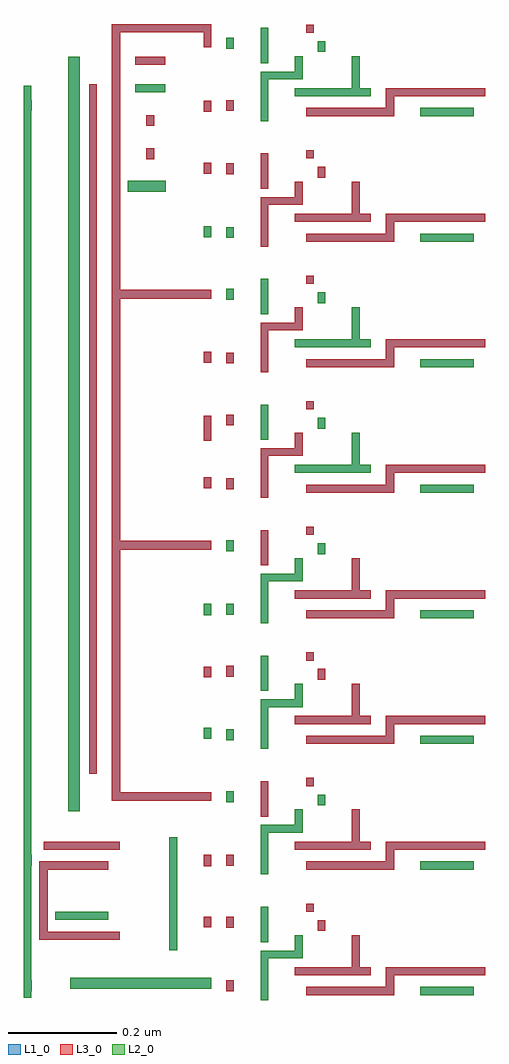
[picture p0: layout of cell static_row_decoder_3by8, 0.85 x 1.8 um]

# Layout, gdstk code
import gdstk
lib = gdstk.Library(unit=1e-6, precision=5e-10)
def R(c, l, rs):  # rectangles x0, y0, x1, y1
    for r in rs: c.add(gdstk.rectangle(r[:2], r[2:], *l))
def A(c, l, x, y, w, h, nx, ny, dx, dy):  # array of equal rectangles
    R(c, l, [(x+i*dx, y+j*dy, x+i*dx+w, y+j*dy+h) for i in range(nx) for j in range(ny)])
def P(c, l, *ps):  # polygons
    for p in ps: c.add(gdstk.Polygon(p, *l))
L1_0 = (1, 0)
L2_0 = (2, 0)
L3_0 = (3, 0)

proto_hold_nor_1r = lib.new_cell('PROTO_HOLD_nor_1R')
R(proto_hold_nor_1r, L1_0, [(0.2055,-0.113,0.2195,-0.098), (0.2475,-0.087,0.2615,-0.072), (0.2265,-0.055,0.2405,-0.04)])
R(proto_hold_nor_1r, L3_0, [(0.2265,-0.055,0.2405,-0.04)])

nand = lib.new_cell('nand')
R(nand, L1_0, [(0.258,0.1025,0.272,0.1675), (0.153,0.1235,0.167,0.1385), (0.195,0.1235,0.209,0.1385)])

inv = lib.new_cell('inv')
R(inv, L1_0, [(0.0695,0.039,0.0835,0.054), (0.0485,0.0985,0.1045,0.1135)])

invx4 = lib.new_cell('invx4')
R(invx4, L1_0, [(0.0755,0.0545,0.1735,0.0695), (0.0545,0.091,0.1945,0.106)])

buffer_highdrive = lib.new_cell('buffer_highdrive')
R(buffer_highdrive, L1_0, [(0.3675,0.0575,0.3745,0.064), (0.2835,0.096,0.29,0.101)])
P(buffer_highdrive, L1_0, [(0.259,0.1055),(0.259,0.0905),(0.2315,0.0905),(0.2315,0.054),(0.168,0.054),(0.168,0.069),(0.2165,0.069),(0.2165,0.1055)])
R(buffer_highdrive, L2_0, [(0.28,0.054,0.378,0.069)])
P(buffer_highdrive, L3_0, [(0.399,0.1055),(0.399,0.0905),(0.2315,0.0905),(0.2315,0.054),(0.07,0.054),(0.07,0.069),(0.2165,0.069),(0.2165,0.1055)])
buffer_highdrive.add(gdstk.Reference(invx4, (-0.0055,-0.0005)))
buffer_highdrive.add(gdstk.Reference(invx4, (0.2045,-0.0005)))

static_row_decoder_3by8 = lib.new_cell('static_row_decoder_3by8')
A(static_row_decoder_3by8, L1_0, 0.7785, -1.3785, 0.014, 0.074, 1, 8, 0, 0.231)
A(static_row_decoder_3by8, L1_0, 0.6105, -1.297, 0.014, 0.02, 1, 8, 0, 0.231)
A(static_row_decoder_3by8, L1_0, 0.7155, -1.297, 0.014, 0.02, 1, 8, 0, 0.231)
A(static_row_decoder_3by8, L1_0, 0.5055, -0.4825, 0.014, 0.02, 1, 3, 0, 0.231)
R(static_row_decoder_3by8, L1_0, [(0.9645,-1.412,0.9765,-1.403), (0.5475,-1.408,0.5615,-1.388), (0.26,-1.4035,0.5195,-1.3835), (0.442,-1.3325,0.457,-1.1245), (0.5475,-1.291,0.5615,-1.271), (0.5055,-1.2905,0.5195,-1.2705), (0.2365,-1.2715,0.2435,-1.265), (0.963,-1.1785,0.978,-1.173), (0.5055,-1.178,0.5195,-1.158), (0.5475,-1.177,0.5615,-1.157), (0.214,-1.1445,0.225,-1.1335), (0.236,-1.142,0.2425,-1.137), (0.257,-1.0765,0.278,0.3115), (0.5475,-1.06,0.5615,-1.04), (0.2955,-1.0075,0.3095,0.261), (0.965,-0.9505,0.9845,-0.94), (0.5475,-0.946,0.5615,-0.926), (0.5055,-0.9435,0.5195,-0.9235), (0.5055,-0.8305,0.5195,-0.8105), (0.5475,-0.829,0.5615,-0.809), (0.9705,-0.7185,0.9845,-0.7095), (0.5055,-0.716,0.5195,-0.696), (0.5475,-0.715,0.5615,-0.695), (0.5475,-0.598,0.5615,-0.578), (0.9655,-0.489,0.981,-0.4785), (0.5475,-0.484,0.5615,-0.464), (0.5055,-0.395,0.5195,-0.349), (0.5475,-0.367,0.5615,-0.347), (0.9665,-0.258,0.981,-0.25), (0.5475,-0.253,0.5615,-0.233), (0.5475,-0.1355,0.5615,-0.1155), (0.969,-0.025,0.98,-0.016), (0.5475,-0.022,0.5615,-0.002), (0.366,0.063,0.436,0.083), (0.5475,0.095,0.5615,0.115), (0.5055,0.096,0.5195,0.116), (0.4005,0.1225,0.4145,0.1425), (0.4005,0.184,0.4145,0.204), (0.9655,0.206,0.9785,0.2155), (0.5055,0.2105,0.5195,0.2305), (0.5475,0.2115,0.5615,0.2315), (0.3815,0.248,0.397,0.259), (0.5475,0.326,0.5615,0.346)])
P(static_row_decoder_3by8, L1_0, [(0.688,0.3125),(0.688,0.27),(0.6245,0.27),(0.6245,0.237),(0.6105,0.237),(0.6105,0.284),(0.6735,0.284),(0.6735,0.3125)],
  [(0.688,0.0815),(0.688,0.039),(0.6245,0.039),(0.6245,0.006),(0.6105,0.006),(0.6105,0.053),(0.6735,0.053),(0.6735,0.0815)],
  [(0.688,-0.1495),(0.688,-0.192),(0.6245,-0.192),(0.6245,-0.225),(0.6105,-0.225),(0.6105,-0.178),(0.6735,-0.178),(0.6735,-0.1495)],
  [(0.688,-0.3805),(0.688,-0.423),(0.6245,-0.423),(0.6245,-0.456),(0.6105,-0.456),(0.6105,-0.409),(0.6735,-0.409),(0.6735,-0.3805)],
  [(0.688,-0.6115),(0.688,-0.654),(0.6245,-0.654),(0.6245,-0.687),(0.6105,-0.687),(0.6105,-0.64),(0.6735,-0.64),(0.6735,-0.6115)],
  [(0.688,-0.8425),(0.688,-0.885),(0.6245,-0.885),(0.6245,-0.918),(0.6105,-0.918),(0.6105,-0.871),(0.6735,-0.871),(0.6735,-0.8425)],
  [(0.688,-1.0735),(0.688,-1.116),(0.6245,-1.116),(0.6245,-1.149),(0.6105,-1.149),(0.6105,-1.102),(0.6735,-1.102),(0.6735,-1.0735)],
  [(0.688,-1.3045),(0.688,-1.347),(0.6245,-1.347),(0.6245,-1.38),(0.6105,-1.38),(0.6105,-1.333),(0.6735,-1.333),(0.6735,-1.3045)],
  [(0.247,-1.169),(0.247,-1.184),(0.2185,-1.184),(0.2185,-1.298),(0.2255,-1.298),(0.2255,-1.313),(0.2035,-1.313),(0.2035,-1.169)],
  [(0.352,0.3715),(0.352,0.371),(0.5195,0.371),(0.5195,0.3295),(0.5055,0.3295),(0.5055,0.356),(0.352,0.356),(0.352,-0.1175),(0.52,-0.1175),(0.52,-0.1335),(0.352,-0.1335),(0.352,-0.5795),(0.52,-0.5795),(0.52,-0.5955),(0.352,-0.5955),(0.352,-1.0415),(0.52,-1.0415),(0.52,-1.0575),(0.337,-1.0575),(0.337,0.3715)],
  [(0.189,0.258),(0.189,0.2315),(0.1895,0.2315),(0.1895,0.2115),(0.189,0.2115),(0.189,-1.157),(0.1895,-1.157),(0.1895,-1.177),(0.189,-1.177),(0.189,-1.388),(0.1895,-1.388),(0.1895,-1.408),(0.189,-1.408),(0.189,-1.4195),(0.175,-1.4195),(0.175,0.258)])
A(static_row_decoder_3by8, L2_0, 0.6105, -1.3175, 0.014, 0.065, 1, 3, 0, 0.462)
A(static_row_decoder_3by8, L2_0, 0.7155, -0.604, 0.014, 0.02, 1, 3, 0, 0.231)
R(static_row_decoder_3by8, L2_0, [(0.26,-1.4035,0.5195,-1.3835), (0.442,-1.3325,0.457,-1.1245), (0.2325,-1.2765,0.3305,-1.2615), (0.257,-1.0765,0.278,0.3115), (0.7155,-1.066,0.7295,-1.046), (0.5475,-1.06,0.5615,-1.04), (0.5475,-0.946,0.5615,-0.926), (0.5055,-0.9435,0.5195,-0.9235), (0.5055,-0.716,0.5195,-0.695), (0.5475,-0.715,0.5615,-0.695), (0.5475,-0.598,0.5615,-0.578), (0.6105,-0.1625,0.6245,-0.0975), (0.5475,-0.1355,0.5615,-0.1155), (0.5475,-0.022,0.5615,-0.002), (0.5055,-0.0205,0.5195,-0.0005), (0.366,0.063,0.436,0.083), (0.3795,0.246,0.4355,0.261), (0.6105,0.2995,0.6245,0.3645), (0.7155,0.32,0.7295,0.34), (0.5475,0.326,0.5615,0.346)])
P(static_row_decoder_3by8, L2_0, [(0.7925,0.3125),(0.7925,0.2535),(0.8135,0.2535),(0.8135,0.2385),(0.6735,0.2385),(0.6735,0.2535),(0.7785,0.2535),(0.7785,0.3125)],
  [(0.7925,-0.1495),(0.7925,-0.2085),(0.8135,-0.2085),(0.8135,-0.2235),(0.6735,-0.2235),(0.6735,-0.2085),(0.7785,-0.2085),(0.7785,-0.1495)],
  [(0.7925,-0.3805),(0.7925,-0.4395),(0.8135,-0.4395),(0.8135,-0.4545),(0.6735,-0.4545),(0.6735,-0.4395),(0.7785,-0.4395),(0.7785,-0.3805)],
  [(0.688,0.3125),(0.688,0.27),(0.6245,0.27),(0.6245,0.193),(0.6105,0.193),(0.6105,0.284),(0.6735,0.284),(0.6735,0.3125)],
  [(0.688,-0.6115),(0.688,-0.654),(0.6245,-0.654),(0.6245,-0.731),(0.6105,-0.731),(0.6105,-0.64),(0.6735,-0.64),(0.6735,-0.6115)],
  [(0.688,-0.8425),(0.688,-0.885),(0.6245,-0.885),(0.6245,-0.962),(0.6105,-0.962),(0.6105,-0.871),(0.6735,-0.871),(0.6735,-0.8425)],
  [(0.688,-1.0735),(0.688,-1.116),(0.6245,-1.116),(0.6245,-1.193),(0.6105,-1.193),(0.6105,-1.102),(0.6735,-1.102),(0.6735,-1.0735)],
  [(0.688,-1.3045),(0.688,-1.347),(0.6245,-1.347),(0.6245,-1.424),(0.6105,-1.424),(0.6105,-1.333),(0.6735,-1.333),(0.6735,-1.3045)],
  [(0.189,0.258),(0.189,0.2315),(0.1895,0.2315),(0.1895,0.2115),(0.189,0.2115),(0.189,-1.157),(0.1895,-1.157),(0.1895,-1.177),(0.189,-1.177),(0.189,-1.388),(0.1895,-1.388),(0.1895,-1.408),(0.189,-1.408),(0.189,-1.4195),(0.175,-1.4195),(0.175,0.258)])
R(static_row_decoder_3by8, L3_0, [(0.5475,-1.408,0.5615,-1.388), (0.7155,-1.297,0.7295,-1.277), (0.5475,-1.291,0.5615,-1.271), (0.5055,-1.2905,0.5195,-1.2705), (0.5055,-1.178,0.5195,-1.157), (0.5475,-1.177,0.5615,-1.157), (0.2115,-1.1475,0.3515,-1.1325), (0.6105,-1.0865,0.6245,-1.0215), (0.2955,-1.0075,0.3095,0.261), (0.7155,-0.835,0.7295,-0.815), (0.5055,-0.8305,0.5195,-0.8105), (0.5475,-0.829,0.5615,-0.809), (0.6105,-0.6245,0.6245,-0.5595), (0.5475,-0.484,0.5615,-0.464), (0.5055,-0.4825,0.5195,-0.4625), (0.5055,-0.395,0.5195,-0.349), (0.5475,-0.367,0.5615,-0.347), (0.5475,-0.253,0.5615,-0.233), (0.5055,-0.2515,0.5195,-0.2315), (0.6105,0.0685,0.6245,0.1335), (0.7155,0.089,0.7295,0.109), (0.5475,0.095,0.5615,0.115), (0.5055,0.096,0.5195,0.116), (0.4005,0.1225,0.4145,0.1425), (0.4005,0.184,0.4145,0.204), (0.5055,0.2105,0.5195,0.2305), (0.5475,0.2115,0.5615,0.2315), (0.3795,0.2965,0.4355,0.3115)])
P(static_row_decoder_3by8, L3_0, [(0.7925,0.0815),(0.7925,0.0225),(0.8135,0.0225),(0.8135,0.0075),(0.6735,0.0075),(0.6735,0.0225),(0.7785,0.0225),(0.7785,0.0815)],
  [(0.7925,-0.6115),(0.7925,-0.6705),(0.8135,-0.6705),(0.8135,-0.6855),(0.6735,-0.6855),(0.6735,-0.6705),(0.7785,-0.6705),(0.7785,-0.6115)],
  [(0.7925,-0.8425),(0.7925,-0.9015),(0.8135,-0.9015),(0.8135,-0.9165),(0.6735,-0.9165),(0.6735,-0.9015),(0.7785,-0.9015),(0.7785,-0.8425)],
  [(0.7925,-1.0735),(0.7925,-1.1325),(0.8135,-1.1325),(0.8135,-1.1475),(0.6735,-1.1475),(0.6735,-1.1325),(0.7785,-1.1325),(0.7785,-1.0735)],
  [(0.7925,-1.3045),(0.7925,-1.3635),(0.8135,-1.3635),(0.8135,-1.3785),(0.6735,-1.3785),(0.6735,-1.3635),(0.7785,-1.3635),(0.7785,-1.3045)],
  [(0.688,0.0815),(0.688,0.039),(0.6245,0.039),(0.6245,-0.038),(0.6105,-0.038),(0.6105,0.053),(0.6735,0.053),(0.6735,0.0815)],
  [(0.688,-0.1495),(0.688,-0.192),(0.6245,-0.192),(0.6245,-0.269),(0.6105,-0.269),(0.6105,-0.178),(0.6735,-0.178),(0.6735,-0.1495)],
  [(0.688,-0.3805),(0.688,-0.423),(0.6245,-0.423),(0.6245,-0.5),(0.6105,-0.5),(0.6105,-0.409),(0.6735,-0.409),(0.6735,-0.3805)],
  [(0.352,0.3715),(0.352,0.371),(0.5195,0.371),(0.5195,0.3285),(0.5055,0.3285),(0.5055,0.356),(0.352,0.356),(0.352,-0.1175),(0.52,-0.1175),(0.52,-0.1335),(0.352,-0.1335),(0.352,-0.5795),(0.52,-0.5795),(0.52,-0.5955),(0.352,-0.5955),(0.352,-1.0415),(0.52,-1.0415),(0.52,-1.0575),(0.337,-1.0575),(0.337,0.3715)],
  [(0.3305,-1.169),(0.3305,-1.184),(0.2185,-1.184),(0.2185,-1.298),(0.3515,-1.298),(0.3515,-1.313),(0.2035,-1.313),(0.2035,-1.169)])
static_row_decoder_3by8.add(gdstk.Reference(proto_hold_nor_1r, (0.468,-0.9755)))
static_row_decoder_3by8.add(gdstk.Reference(proto_hold_nor_1r, (0.468,-0.5135)))
static_row_decoder_3by8.add(gdstk.Reference(proto_hold_nor_1r, (0.468,-0.7445)))
static_row_decoder_3by8.add(gdstk.Reference(proto_hold_nor_1r, (0.468,-1.2065)))
static_row_decoder_3by8.add(gdstk.Reference(proto_hold_nor_1r, (0.468,-0.2825)))
static_row_decoder_3by8.add(gdstk.Reference(proto_hold_nor_1r, (0.468,-0.0515)))
static_row_decoder_3by8.add(gdstk.Reference(proto_hold_nor_1r, (0.468,0.4105)))
static_row_decoder_3by8.add(gdstk.Reference(proto_hold_nor_1r, (0.468,0.1795)))
static_row_decoder_3by8.add(gdstk.Reference(nand, (0.3525,-0.8335)))
static_row_decoder_3by8.add(gdstk.Reference(nand, (0.3525,-0.457), x_reflection=True))
static_row_decoder_3by8.add(gdstk.Reference(nand, (0.3525,-0.688), x_reflection=True))
static_row_decoder_3by8.add(gdstk.Reference(nand, (0.3525,-1.0645)))
static_row_decoder_3by8.add(gdstk.Reference(nand, (0.3525,-1.5265)))
static_row_decoder_3by8.add(gdstk.Reference(nand, (0.3525,-1.2955)))
static_row_decoder_3by8.add(gdstk.Reference(nand, (0.3525,-0.919), x_reflection=True))
static_row_decoder_3by8.add(gdstk.Reference(nand, (0.3525,-1.15), x_reflection=True))
static_row_decoder_3by8.add(gdstk.Reference(nand, (0.3525,-0.1405)))
static_row_decoder_3by8.add(gdstk.Reference(nand, (0.3525,-0.6025)))
static_row_decoder_3by8.add(gdstk.Reference(nand, (0.3525,-0.226), x_reflection=True))
static_row_decoder_3by8.add(gdstk.Reference(nand, (0.3525,0.005), x_reflection=True))
static_row_decoder_3by8.add(gdstk.Reference(nand, (0.3525,-0.3715)))
static_row_decoder_3by8.add(gdstk.Reference(nand, (0.3525,0.236), x_reflection=True))
static_row_decoder_3by8.add(gdstk.Reference(nand, (0.3525,0.467), x_reflection=True))
static_row_decoder_3by8.add(gdstk.Reference(nand, (0.3525,0.0905)))
static_row_decoder_3by8.add(gdstk.Reference(inv, (0.331,0.179), x_reflection=True))
static_row_decoder_3by8.add(gdstk.Reference(inv, (0.331,0.41), x_reflection=True))
static_row_decoder_3by8.add(gdstk.Reference(inv, (0.331,0.1475)))
static_row_decoder_3by8.add(gdstk.Reference(invx4, (0.157,-1.207), x_reflection=True))
static_row_decoder_3by8.add(gdstk.Reference(invx4, (0.157,-1.2385)))
static_row_decoder_3by8.add(gdstk.Reference(buffer_highdrive, (0.6245,-0.776)))
static_row_decoder_3by8.add(gdstk.Reference(buffer_highdrive, (0.6245,-1.238)))
static_row_decoder_3by8.add(gdstk.Reference(buffer_highdrive, (0.6245,-0.545)))
static_row_decoder_3by8.add(gdstk.Reference(buffer_highdrive, (0.6245,-0.314)))
static_row_decoder_3by8.add(gdstk.Reference(buffer_highdrive, (0.6245,-1.469)))
static_row_decoder_3by8.add(gdstk.Reference(buffer_highdrive, (0.6245,-1.007)))
static_row_decoder_3by8.add(gdstk.Reference(buffer_highdrive, (0.6245,0.148)))
static_row_decoder_3by8.add(gdstk.Reference(buffer_highdrive, (0.6245,-0.083)))

lib.write_gds('static_row_decoder_3by8.gds')
